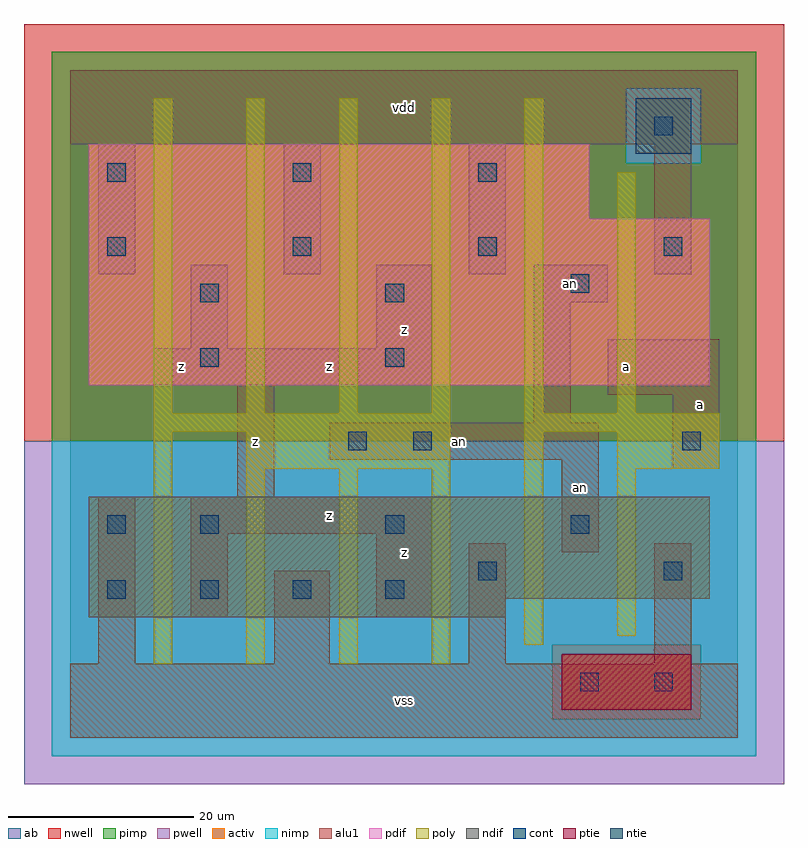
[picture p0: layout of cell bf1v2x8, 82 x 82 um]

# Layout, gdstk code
import gdstk
lib = gdstk.Library(unit=1e-6, precision=1e-09)
def R(c, l, rs):  # rectangles x0, y0, x1, y1
    for r in rs: c.add(gdstk.rectangle(r[:2], r[2:], *l))
def A(c, l, x, y, w, h, nx, ny, dx, dy):  # array of equal rectangles
    R(c, l, [(x+i*dx, y+j*dy, x+i*dx+w, y+j*dy+h) for i in range(nx) for j in range(ny)])
ndif = (3, 0)
pdif = (4, 0)
ntie = (5, 0)
ptie = (6, 0)
cont = (25, 0)
pwell = (41, 0)
nwell = (42, 0)
activ = (43, 0)
pimp = (44, 0)
nimp = (45, 0)
poly = (46, 0)
alu1 = (49, 0)
ab = (63, 0)

bf1v2x8 = lib.new_cell('bf1v2x8')
R(bf1v2x8, ndif, [(2,13,47,15), (2,15,69,26)])
R(bf1v2x8, pdif, [(2,38,69,56), (2,56,56,64)])
R(bf1v2x8, ntie, [(61,63,67,69)])
R(bf1v2x8, ptie, [(53,3,67,9)])
A(bf1v2x8, cont, 4, 15, 2, 2, 4, 1, 10, 0)
A(bf1v2x8, cont, 14, 22, 2, 2, 3, 1, 20, 0)
A(bf1v2x8, cont, 4, 52, 2, 2, 4, 1, 20, 0)
A(bf1v2x8, cont, 4, 60, 2, 2, 3, 1, 20, 0)
R(bf1v2x8, cont, [(55,5,57,7), (63,5,65,7), (44,17,46,19), (64,17,66,19), (4,22,6,24), (30,31,32,33), (37,31,39,33), (66,31,68,33), (14,40,16,42), (34,40,36,42), (14,47,16,49), (34,47,36,49), (54,48,56,50), (63,65,65,67)])
R(bf1v2x8, pwell, [(-5,-5,77,32)])
R(bf1v2x8, nwell, [(-5,32,77,77)])
R(bf1v2x8, activ, [(53,3,67,9), (2,13,47,15), (2,15,69,26), (2,38,69,56), (2,56,56,64), (61,63,67,69)])
R(bf1v2x8, pimp, [(52,2,68,10), (-2,32,74,62), (-2,62,60,70), (68,62,74,70), (-2,70,74,74)])
R(bf1v2x8, nimp, [(-2,-2,74,2), (-2,2,52,10), (68,2,74,10), (-2,10,74,32), (60,62,68,70)])
A(bf1v2x8, poly, 19, 8, 2, 21, 3, 1, 10, 0)
A(bf1v2x8, poly, 9, 35, 2, 34, 5, 1, 10, 0)
R(bf1v2x8, poly, [(9,8,11,33), (49,10,51,33), (59,11,61,29), (19,29,41,33), (59,29,70,33), (9,33,41,35), (49,33,70,35), (59,35,61,61)])
A(bf1v2x8, alu1, 3, 50, 4, 14, 4, 1, 20, 0)
R(bf1v2x8, alu1, [(0,0,72,8), (3,8,7,26), (22,8,28,18), (43,8,47,21), (63,8,67,21), (13,13,17,22), (33,13,39,22), (53,20,57,30), (13,22,39,26), (18,26,22,38), (65,29,70,37), (28,30,57,34), (50,34,54,47), (58,37,70,43), (9,38,39,42), (13,42,17,51), (33,42,39,51), (50,47,58,51), (0,64,72,72)])
R(bf1v2x8, ab, [(0,0,72,72)])
bf1v2x8.add(gdstk.Label('an', (55,27), layer=49, texttype=0))
bf1v2x8.add(gdstk.Label('an', (42,32), layer=49, texttype=0))
bf1v2x8.add(gdstk.Label('an', (54,49), layer=49, texttype=0))
bf1v2x8.add(gdstk.Label('z', (12,40), layer=49, texttype=0))
bf1v2x8.add(gdstk.Label('z', (20,32), layer=49, texttype=0))
bf1v2x8.add(gdstk.Label('z', (28,24), layer=49, texttype=0))
bf1v2x8.add(gdstk.Label('z', (28,40), layer=49, texttype=0))
bf1v2x8.add(gdstk.Label('vss', (36,4), layer=49, texttype=0))
bf1v2x8.add(gdstk.Label('z', (36,20), layer=49, texttype=0))
bf1v2x8.add(gdstk.Label('z', (36,44), layer=49, texttype=0))
bf1v2x8.add(gdstk.Label('vdd', (36,68), layer=49, texttype=0))
bf1v2x8.add(gdstk.Label('a', (60,40), layer=49, texttype=0))
bf1v2x8.add(gdstk.Label('a', (68,36), layer=49, texttype=0))

lib.write_gds('bf1v2x8.gds')
